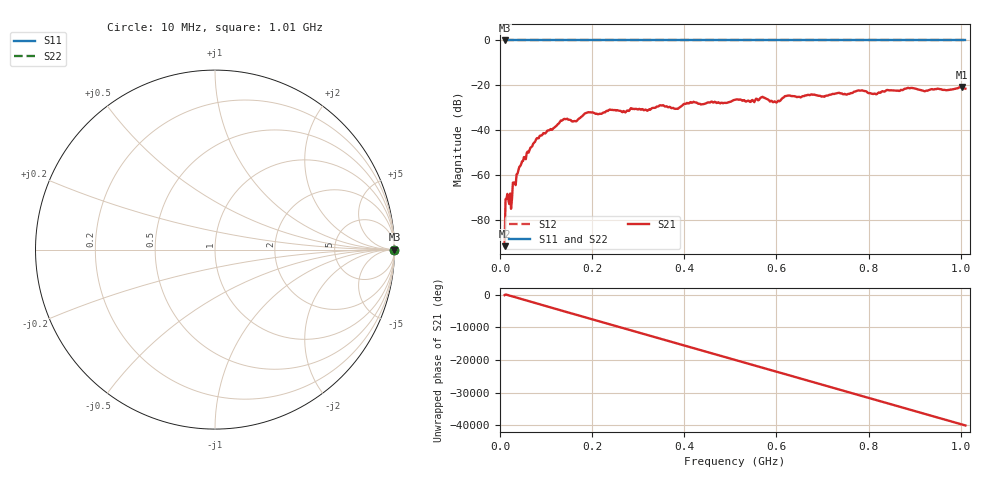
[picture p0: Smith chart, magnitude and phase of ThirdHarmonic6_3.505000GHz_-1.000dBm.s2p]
! 8/17/2025 11:27:33 AM
! C:\ANRITSUVNA\TEMP\TEMP.S2P
! CHANNEL.1
! TR.MEASUREMENT
! RAW.DATA
! RF.CORRECTION.OFF
! AVERAGING.OFF
! IF.BANDWIDTH: 5KHZ
! SWEEPTYPE:  FREQ.SWEEP(Linear)
! Reference Plane Port Info
! PORT:  PORT1  PORT2
! DISTANCE:  0  m  0  m
! TIME:  0  s  0  s
! PHASE.OFFSET:  0  deg.  0  deg.
! LOSS:  0  dB  0  dB
! REF.LOSS:  0  dB  0  dB
! REF.FREQ:  0  Hz  0  Hz
! Power Info
! POWER:  -20  dBm  -20  dBm
! EFF.POWER:  -20  dBm  -20  dBm
! SOURCE.ATTEN:  0  dB  0  dB
! TEST.ATTEN:  0  dB  0  dB
# GHZ S RI R 50.0
! FREQ.GHZ  S11RE  S11IM  S21RE  S21IM  S12RE  S12IM  S22RE  S22IM
!; PortSelection: Port_12
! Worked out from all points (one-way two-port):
!   501 points, 10 MHz to 1.01 GHz, reference 50 ohm
!   highest |S21| = -20.78 dB at 1.002 GHz (marker M1); lowest = -91.9 dB at 10 MHz (marker M2)
!   lowest |S11| = 0.0 dB at 10 MHz (marker M3)
!   |S11| at or under -10 dB: nowhere
!   |S22| runs from 0.0 to 0.0 dB; largest |S21 - S12| = 1.1
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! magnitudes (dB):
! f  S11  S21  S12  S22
! 10 MHz  0.0  -91.9  0.0  0.0
! 16 MHz  0.0  -68.6  0.0  0.0
! 22 MHz  0.0  -68.4  0.0  0.0
! 32 MHz  0.0  -63.5  0.0  0.0
! 44 MHz  0.0  -56.1  0.0  0.0
! 78 MHz  0.0  -44.3  0.0  0.0
! 136 MHz  0.0  -35.6  0.0  0.0
! 162 MHz  0.0  -36.0  0.0  0.0
! 178 MHz  0.0  -33.9  0.0  0.0
! 192 MHz  0.0  -32.1  0.0  0.0
! 322 MHz  0.0  -31.0  0.0  0.0
! 344 MHz  0.0  -29.4  0.0  0.0
! 382 MHz  0.0  -30.5  0.0  0.0
! 416 MHz  0.0  -27.8  0.0  0.0
! 510 MHz  0.0  -26.5  0.0  0.0
! 570 MHz  0.0  -25.2  0.0  0.0
! 596 MHz  0.0  -27.2  0.0  0.0
! 622 MHz  0.0  -24.8  0.0  0.0
! 678 MHz  0.0  -24.2  0.0  0.0
! 844 MHz  0.0  -22.3  0.0  0.0
! 1.002 GHz  0.0  -20.8  0.0  0.0
! 1.01 GHz  0.0  -21.5  0.0  0.0
